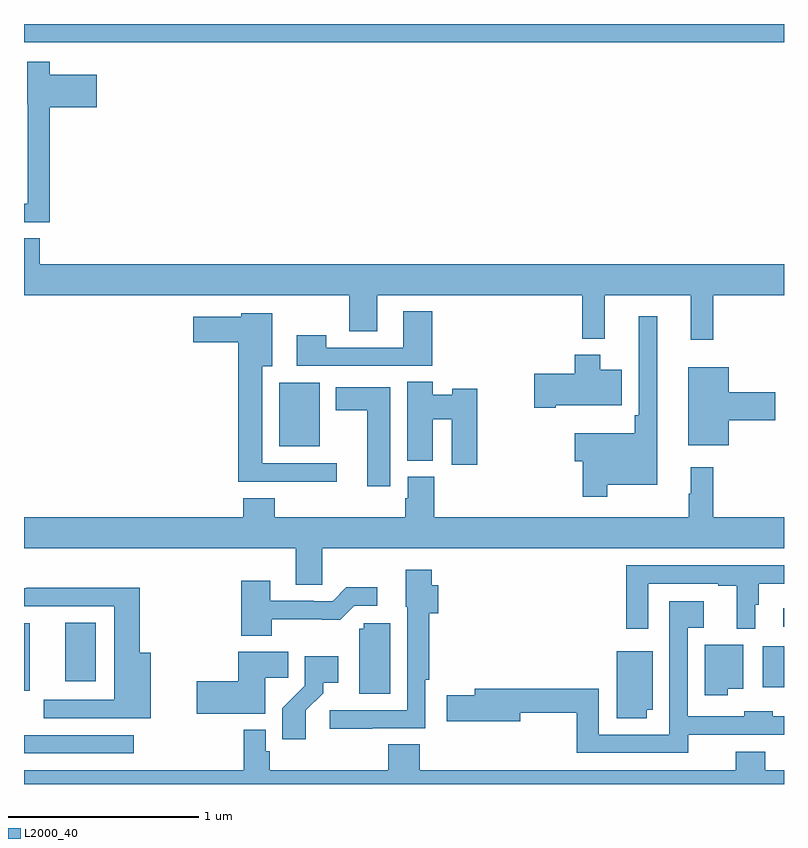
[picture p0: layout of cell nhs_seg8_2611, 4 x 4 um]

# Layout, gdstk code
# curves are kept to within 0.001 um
import gdstk
lib = gdstk.Library(unit=1e-6, precision=1e-09)
def R(c, l, rs):  # rectangles x0, y0, x1, y1
    for r in rs: c.add(gdstk.rectangle(r[:2], r[2:], *l))
def P(c, l, *ps):  # polygons
    for p in ps: c.add(gdstk.Polygon(p, *l))
L2000_40 = (2000, 40)

nhs_seg8_2611 = lib.new_cell('nhs_seg8_2611')
R(nhs_seg8_2611, L2000_40, [(275,1142.061,275.578,1142.157), (275,1142.391,275.029,1142.746), (278.888,1142.408,279,1142.626), (275.216,1142.442,275.377,1142.75), (278.997,1142.727,279,1142.824), (276.344,1143.677,276.556,1144.012), (275,1145.804,279,1145.9)])
P(nhs_seg8_2611, L2000_40, [(275.135,1145.462),(275.383,1145.462),(275.383,1145.632),(275.135,1145.632),(275.135,1145.701),(275.018,1145.701),(275.018,1145.478),(275.019,1145.478),(275.019,1144.953),(275,1144.953),(275,1144.857),(275.135,1144.857)],
  [(278.627,1144.472),(279,1144.472),(279,1144.636),(275.084,1144.636),(275.084,1144.772),(275,1144.772),(275,1144.472),(276.712,1144.472),(276.712,1144.282),(276.859,1144.282),(276.859,1144.472),(277.939,1144.472),(277.939,1144.244),(278.057,1144.244),(278.057,1144.472),(278.51,1144.472),(278.51,1144.239),(278.627,1144.239)],
  [(277.148,1144.387),(276.995,1144.387),(276.995,1144.197),(276.591,1144.197),(276.591,1144.261),(276.435,1144.261),(276.435,1144.101),(277.148,1144.101)],
  [(276.646,1143.588),(276.253,1143.588),(276.253,1144.1),(276.307,1144.1),(276.307,1144.378),(276.144,1144.378),(276.144,1144.36),(275.892,1144.36),(275.892,1144.226),(276.128,1144.226),(276.128,1143.491),(276.646,1143.491)],
  [(278.071,1143.476),(278.332,1143.476),(278.332,1144.363),(278.235,1144.363),(278.235,1143.841),(278.215,1143.841),(278.215,1143.745),(277.898,1143.745),(277.898,1143.598),(277.942,1143.598),(277.942,1143.411),(278.071,1143.411)],
  [(277.798,1143.893),(278.146,1143.893),(278.146,1144.081),(278.032,1144.081),(278.032,1144.159),(277.898,1144.159),(277.898,1144.059),(277.686,1144.059),(277.686,1143.881),(277.798,1143.881)],
  [(278.71,1143.815),(278.953,1143.815),(278.953,1143.962),(278.71,1143.962),(278.71,1144.093),(278.495,1144.093),(278.495,1143.683),(278.71,1143.683)],
  [(277.385,1143.98),(277.254,1143.98),(277.254,1143.949),(277.15,1143.949),(277.15,1144.016),(277.016,1144.016),(277.016,1143.601),(277.15,1143.601),(277.15,1143.82),(277.25,1143.82),(277.25,1143.579),(277.385,1143.579)],
  [(276.928,1143.988),(276.641,1143.988),(276.641,1143.866),(276.806,1143.866),(276.806,1143.468),(276.928,1143.468)],
  [(276.57,1143.14),(279,1143.14),(279,1143.304),(278.627,1143.304),(278.627,1143.568),(278.51,1143.568),(278.51,1143.428),(278.499,1143.428),(278.499,1143.304),(277.16,1143.304),(277.16,1143.516),(277.019,1143.516),(277.019,1143.405),(277.007,1143.405),(277.007,1143.304),(276.32,1143.304),(276.32,1143.403),(276.155,1143.403),(276.155,1143.304),(275,1143.304),(275,1143.14),(276.431,1143.14),(276.431,1142.95),(276.57,1142.95)],
  [(278.286,1142.955),(278.654,1142.955),(278.654,1142.943),(278.75,1142.943),(278.75,1142.718),(278.848,1142.718),(278.848,1142.844),(278.867,1142.844),(278.867,1142.954),(279,1142.954),(279,1143.051),(278.17,1143.051),(278.17,1142.718),(278.286,1142.718)],
  [(276.833,1142.193),(277.113,1142.193),(277.113,1142.449),(277.133,1142.449),(277.133,1142.798),(277.181,1142.798),(277.181,1142.946),(277.146,1142.946),(277.146,1143.028),(277.01,1143.028),(277.01,1142.832),(277.017,1142.832),(277.017,1142.289),(276.609,1142.289),(276.609,1142.191),(276.833,1142.191)],
  [(276.303,1142.766),(276.665,1142.765),(276.738,1142.838),(276.859,1142.838),(276.859,1142.935),(276.697,1142.935),(276.624,1142.862),(276.524,1142.862),(276.524,1142.865),(276.295,1142.865),(276.295,1142.971),(276.143,1142.971),(276.143,1142.681),(276.303,1142.681)],
  [(275.668,1142.59),(275.609,1142.59),(275.609,1142.933),(275.011,1142.933),(275.011,1142.931),(275,1142.931),(275,1142.835),(275.474,1142.835),(275.474,1142.343),(275.103,1142.343),(275.103,1142.247),(275.668,1142.247)],
  [(278.496,1142.159),(279,1142.159),(279,1142.256),(278.94,1142.256),(278.94,1142.284),(278.79,1142.284),(278.79,1142.256),(278.493,1142.256),(278.493,1142.723),(278.578,1142.723),(278.578,1142.863),(278.397,1142.863),(278.397,1142.16),(278.025,1142.16),(278.025,1142.402),(277.373,1142.402),(277.373,1142.366),(277.224,1142.366),(277.224,1142.231),(277.612,1142.231),(277.612,1142.274),(277.909,1142.274),(277.909,1142.064),(278.496,1142.064)],
  [(276.928,1142.745),(276.789,1142.745),(276.789,1142.718),(276.764,1142.718),(276.764,1142.374),(276.928,1142.374)],
  [(278.704,1142.402),(278.785,1142.402),(278.785,1142.632),(278.582,1142.632),(278.582,1142.366),(278.704,1142.366)],
  [(278.278,1142.291),(278.308,1142.291),(278.308,1142.599),(278.12,1142.599),(278.12,1142.245),(278.278,1142.245)],
  [(276.271,1142.458),(276.392,1142.458),(276.392,1142.596),(276.127,1142.596),(276.127,1142.441),(275.91,1142.441),(275.91,1142.27),(276.271,1142.27)],
  [(276.484,1142.287),(276.574,1142.377),(276.574,1142.432),(276.655,1142.432),(276.655,1142.572),(276.477,1142.572),(276.477,1142.417),(276.358,1142.298),(276.358,1142.136),(276.484,1142.136)],
  [(279,1141.972),(278.9,1141.972),(278.9,1142.071),(278.747,1142.071),(278.747,1141.972),(277.082,1141.972),(277.082,1142.108),(276.917,1142.108),(276.917,1141.972),(276.293,1141.972),(276.293,1142.073),(276.273,1142.073),(276.273,1142.185),(276.157,1142.185),(276.157,1141.972),(275,1141.972),(275,1141.9),(279,1141.9)])

lib.write_gds('nhs_seg8_2611.gds')
